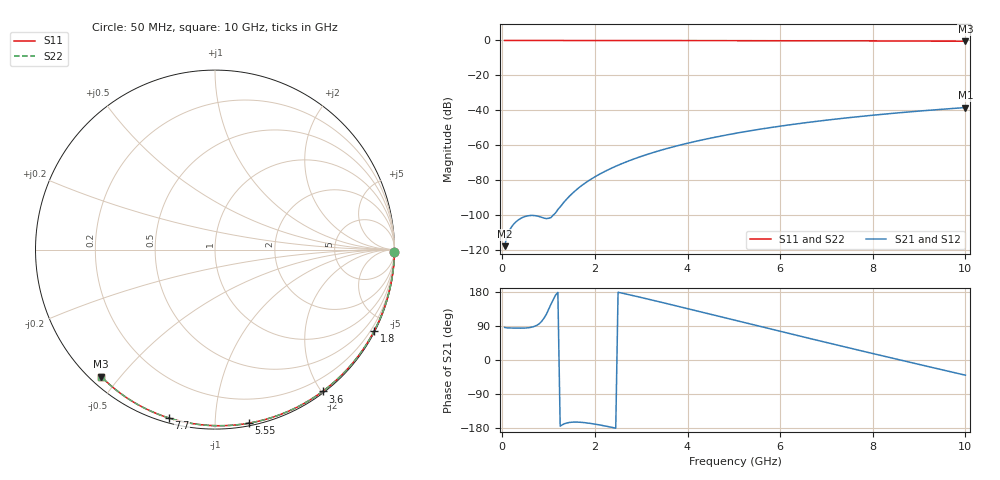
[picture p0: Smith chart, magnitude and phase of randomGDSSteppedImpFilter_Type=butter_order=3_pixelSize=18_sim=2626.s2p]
! freq	dB(S11)	phase(S11)	dB(S12)	phase(S12)
!  dB(S21)	phase(S21)	dB(S22)	phase(S22)
!S-par simulation data
#  GHz  S  DB  R 50
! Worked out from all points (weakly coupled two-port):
!   200 points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, 50 MHz to 10 GHz, reference 50 ohm
!   highest |S21| = -38.39 dB at 10 GHz (marker M1); lowest = -117.7 dB at 50 MHz (marker M2)
!   lowest |S11| = -0.4 dB at 10 GHz (marker M3), VSWR 38.97, Z = 1.54 - j22.3 ohm
!   |S11| at or under -10 dB: nowhere
!   |S22| runs from -0.4 to 0.0 dB; largest |S21 - S12| = 0
!   S11 on the Smith chart (normalised r, x): 50 MHz: open; 1.8 GHz: 0.04, -4.16; 3.6 GHz: 0.02, -2.01; 5.55 GHz: 0.02, -1.21; 7.7 GHz: 0.02, -0.76; 10 GHz: 0.03, -0.45
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0.05  -0.00 -0.8  -117.67 85.9  -117.67 85.9  -0.00 -0.8
0.9  -0.02 -13.6  -101.60 110.4  -101.60 110.4  -0.02 -13.6
1.75  -0.03 -26.3  -82.30 -165.0  -82.30 -165.0  -0.03 -26.3
1.8  -0.03 -27.0  -81.36 -165.6  -81.36 -165.6  -0.03 -27.0
1.85  -0.04 -27.8  -80.47 -166.4  -80.47 -166.4  -0.04 -27.7
1.9  -0.04 -28.5  -79.61 -167.3  -79.61 -167.3  -0.04 -28.5
2.05  -0.04 -30.7  -77.23 -170.2  -77.23 -170.2  -0.04 -30.7
2.25  -0.04 -33.6  -74.42 -174.8  -74.42 -174.8  -0.04 -33.6
2.45  -0.05 -36.5  -71.94 -179.9  -71.94 -179.9  -0.05 -36.5
2.65  -0.05 -39.4  -69.72 174.8  -69.72 174.8  -0.05 -39.4
3  -0.06 -44.4  -66.31 165.0  -66.31 165.0  -0.06 -44.4
3.4  -0.07 -50.0  -62.97 153.4  -62.97 153.4  -0.07 -50.0
3.6  -0.07 -52.8  -61.48 147.5  -61.48 147.5  -0.07 -52.8
4.3  -0.09 -62.4  -56.97 126.6  -56.97 126.6  -0.09 -62.4
5.05  -0.11 -72.4  -53.05 104.1  -53.05 104.1  -0.11 -72.4
5.55  -0.13 -78.9  -50.82 89.2  -50.82 89.2  -0.13 -78.9
6.1  -0.15 -85.9  -48.64 72.8  -48.64 72.8  -0.15 -85.9
6.7  -0.18 -93.3  -46.54 55.0  -46.54 55.0  -0.18 -93.3
7.7  -0.24 -105.4  -43.56 25.7  -43.56 25.7  -0.24 -105.3
8.35  -0.29 -113.0  -41.89 6.9  -41.89 6.9  -0.29 -112.9
9.15  -0.36 -122.2  -40.07 -15.9  -40.07 -15.9  -0.36 -122.1
10  -0.45 -131.9  -38.39 -40.1  -38.39 -40.1  -0.45 -131.8
